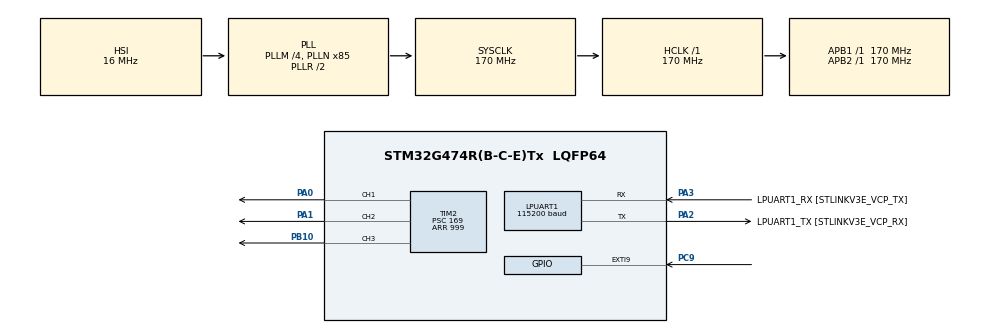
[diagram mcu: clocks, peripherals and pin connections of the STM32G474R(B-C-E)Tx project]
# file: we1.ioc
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LPUART1.BaudRate=115200
Mcu.Family=STM32G4
Mcu.Name=STM32G474R(B-C-E)Tx
Mcu.Package=LQFP64
NVIC.EXTI9_5_IRQn=true\:0\:0\:false\:false\:true\:true\:true\:true
NVIC.LPUART1_IRQn=true\:0\:0\:false\:false\:true\:true\:true\:true
NVIC.PriorityGroup=NVIC_PRIORITYGROUP_4
NVIC.TIM2_IRQn=true\:0\:0\:false\:false\:true\:true\:true\:true
PA0.Signal=S_TIM2_CH1
PA1.Signal=S_TIM2_CH2
PA13.GPIO_Label=T_SWDIO
PA13.Signal=SYS_JTMS-SWDIO
PA14.GPIO_Label=T_SWCLK
PA14.Signal=SYS_JTCK-SWCLK
PA2.GPIO_Label=LPUART1_TX [STLINKV3E_VCP_RX]
PA2.Mode=Asynchronous
PA2.Signal=LPUART1_TX
PA3.GPIO_Label=LPUART1_RX [STLINKV3E_VCP_TX]
PA3.Mode=Asynchronous
PA3.Signal=LPUART1_RX
PB10.Signal=S_TIM2_CH3
PB3.GPIO_Label=T_SWO
PB3.Signal=SYS_JTDO-SWO
PC14-OSC32_IN.GPIO_Label=RCC_OSC32_IN
PC14-OSC32_IN.Signal=RCC_OSC32_IN
PC15-OSC32_OUT.GPIO_Label=RCC_OSC32_OUT
PC15-OSC32_OUT.Signal=RCC_OSC32_OUT
PC9.GPIO_ModeDefaultEXTI=GPIO_MODE_IT_FALLING
PC9.GPIO_PuPd=GPIO_PULLUP
PC9.Signal=GPXTI9
PF0-OSC_IN.GPIO_Label=RCC_OSC_IN
PF0-OSC_IN.Signal=RCC_OSC_IN
PF1-OSC_OUT.GPIO_Label=RCC_OSC_OUT
PF1-OSC_OUT.Signal=RCC_OSC_OUT
ProjectManager.HeapSize=0x200
ProjectManager.StackSize=0x400
ProjectManager.TargetToolchain=STM32CubeIDE
RCC.ADC12Freq_Value=170000000
RCC.ADC345Freq_Value=170000000
RCC.AHBFreq_Value=170000000
RCC.APB1Freq_Value=170000000
RCC.APB1TimFreq_Value=170000000
RCC.APB2Freq_Value=170000000
RCC.APB2TimFreq_Value=170000000
RCC.CortexFreq_Value=170000000
RCC.EXTERNAL_CLOCK_VALUE=12288000
RCC.HCLKFreq_Value=170000000
RCC.HSE_VALUE=24000000
RCC.HSI48_VALUE=48000000
RCC.HSI_VALUE=16000000
RCC.LSE_VALUE=32768
RCC.PLLM=RCC_PLLM_DIV4
RCC.PLLN=85
RCC.RTCClockSelection=RCC_RTCCLKSOURCE_LSE
RCC.SYSCLKFreq_VALUE=170000000
RCC.SYSCLKSource=RCC_SYSCLKSOURCE_PLLCLK
RCC.USBFreq_Value=170000000
RCC.VCOOutputFreq_Value=340000000
SH.S_TIM2_CH1.0=TIM2_CH1,PWM Generation1 CH1
SH.S_TIM2_CH2.0=TIM2_CH2,PWM Generation2 CH2
SH.S_TIM2_CH3.0=TIM2_CH3,PWM Generation3 CH3
TIM2.Channel-PWM\ Generation1\ CH1=TIM_CHANNEL_1
TIM2.Channel-PWM\ Generation2\ CH2=TIM_CHANNEL_2
TIM2.Channel-PWM\ Generation3\ CH3=TIM_CHANNEL_3
TIM2.PeriodNoDither=999
TIM2.Prescaler=169
VP_SYS_VS_DBSignals.Mode=DisableDeadBatterySignals
board=NUCLEO-G474RE

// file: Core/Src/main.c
/* USER CODE BEGIN Header */
/**
  ******************************************************************************
  * @file           : main.c
  * @brief          : Main program body
  ******************************************************************************
  * @attention
  *
  * Copyright (c) 2026 STMicroelectronics.
  * All rights reserved.
  *
  * This software is licensed under terms that can be found in the LICENSE file
  * in the root directory of this software component.
  * If no LICENSE file comes with this software, it is provided AS-IS.
  *
  ******************************************************************************
  */
/* USER CODE END Header */
#include "main.h"
#include <stdio.h>
#include <string.h>

UART_HandleTypeDef hlpuart1;

TIM_HandleTypeDef htim2;

//* USER CODE BEGIN PV */
volatile uint8_t pause_flag = 0;       // 暫停旗標 (0: 執行, 1: 暫停)

// UART 接收相關變數
uint8_t lpuart_rx_data;                // 單字元接收緩衝
char rx_buffer[30];                    // 儲存完整指令字串
uint8_t rx_index = 0;

uint32_t countdown_time = 0;           // 設定的倒數時間（秒數）
uint8_t state = 0;                     // 0: 等待設定, 1: 就緒/暫停, 2: 執行中
/* USER CODE END PV */

void SystemClock_Config(void);
static void MX_GPIO_Init(void);
static void MX_LPUART1_UART_Init(void);
static void MX_TIM2_Init(void);

int main(void)
{

  /* MCU Configuration--------------------------------------------------------*/

  /* Reset of all peripherals, Initializes the Flash interface and the Systick. */
  HAL_Init();

  /* Configure the system clock */
  SystemClock_Config();

  /* Initialize all configured peripherals */
  MX_GPIO_Init();
  MX_LPUART1_UART_Init();
  MX_TIM2_Init();
  /* USER CODE BEGIN 2 */
  // 1. 啟動三個 PWM 通道 (TIM2 CH1: PA0, CH2: PA1, CH3: PB10)
  HAL_TIM_PWM_Start(&htim2, TIM_CHANNEL_1);
  HAL_TIM_PWM_Start(&htim2, TIM_CHANNEL_2);
  HAL_TIM_PWM_Start(&htim2, TIM_CHANNEL_3);

  // 2. 啟動 LPUART1 的中斷接收（每次收 1 個 byte）
  HAL_UART_Receive_IT(&hlpuart1, &lpuart_rx_data, 1);
  /* USER CODE END 2 */

  /* Infinite loop */
  /* USER CODE BEGIN WHILE */
  while (1)
    {
        // 狀態 0 或 1：等待接收指令或暫停狀態，燈保持全暗或不動
        if (state != 2) {
            __HAL_TIM_SET_COMPARE(&htim2, TIM_CHANNEL_1, 0);
            __HAL_TIM_SET_COMPARE(&htim2, TIM_CHANNEL_2, 0);
            __HAL_TIM_SET_COMPARE(&htim2, TIM_CHANNEL_3, 0);
            HAL_Delay(100);
            continue;
        }

        // 狀態 2：收到 START 後開始執行依序變暗邏輯（精準校正時間）

              uint32_t total_time_ms = countdown_time * 60 * 1000; // 例如 1 分鐘 = 60,000 ms

              // 總共有 600 步 (3顆燈 * 各200步)
              // 為了補償 HAL_Delay 的累積誤差，我們將總時間稍微乘以 0.9 左右來校正
              uint32_t calibrated_time_ms = (total_time_ms * 88) / 100;
              uint32_t step_delay = calibrated_time_ms / 600;
              if (step_delay < 1) step_delay = 1;

              // 1. 三顆燈瞬間全亮（取消額外的 hold_time，讓時間完全用在變暗過程）
              __HAL_TIM_SET_COMPARE(&htim2, TIM_CHANNEL_1, 999);
              __HAL_TIM_SET_COMPARE(&htim2, TIM_CHANNEL_2, 999);
              __HAL_TIM_SET_COMPARE(&htim2, TIM_CHANNEL_3, 999);

              // 2. 第一顆燈 (PA0) 漸漸變暗
              for (int32_t i = 999; i >= 0; i -= 5) {
                  while (pause_flag) { while(pause_flag); } // 支援隨時暫停
                  __HAL_TIM_SET_COMPARE(&htim2, TIM_CHANNEL_1, i);

                  for(uint32_t sd = 0; sd < step_delay; sd += 5) {
                      while (pause_flag) { while(pause_flag); }
                      HAL_Delay(5);
                  }
                  if (i == 0) break;
              }

              // 3. 第二顆燈 (PA1) 漸漸變暗
              for (int32_t i = 999; i >= 0; i -= 5) {
                  while (pause_flag) { while(pause_flag); }
                  __HAL_TIM_SET_COMPARE(&htim2, TIM_CHANNEL_2, i);

                  for(uint32_t sd = 0; sd < step_delay; sd += 5) {
                      while (pause_flag) { while(pause_flag); }
                      HAL_Delay(5);
                  }
                  if (i == 0) break;
              }

              // 4. 第三顆燈 (PB10) 漸漸變暗
              for (int32_t i = 999; i >= 0; i -= 5) {
                  while (pause_flag) { while(pause_flag); }
                  __HAL_TIM_SET_COMPARE(&htim2, TIM_CHANNEL_3, i);

                  for(uint32_t sd = 0; sd < step_delay; sd += 5) {
                      while (pause_flag) { while(pause_flag); }
                      HAL_Delay(5);
                  }
                  if (i == 0) break;
              }

              // 確保三顆燈完全熄滅
              __HAL_TIM_SET_COMPARE(&htim2, TIM_CHANNEL_1, 0);
              __HAL_TIM_SET_COMPARE(&htim2, TIM_CHANNEL_2, 0);
              __HAL_TIM_SET_COMPARE(&htim2, TIM_CHANNEL_3, 0);

              // 透過 UART 傳送時間結束訊息
              char finish_msg[] = "TIME_UP\r\n";
              HAL_UART_Transmit(&hlpuart1, (uint8_t*)finish_msg, sizeof(finish_msg) - 1, 100);

              // 回到等待狀態
              state = 0;
              countdown_time = 0;
    }
  /* USER CODE END 3 */
}

void SystemClock_Config(void)
{
  RCC_OscInitTypeDef RCC_OscInitStruct = {0};
  RCC_ClkInitTypeDef RCC_ClkInitStruct = {0};

  /** Configure the main internal regulator output voltage
  */
  HAL_PWREx_ControlVoltageScaling(PWR_REGULATOR_VOLTAGE_SCALE1_BOOST);

  /** Initializes the RCC Oscillators according to the specified parameters
  * in the RCC_OscInitTypeDef structure.
  */
  RCC_OscInitStruct.OscillatorType = RCC_OSCILLATORTYPE_HSI;
  RCC_OscInitStruct.HSIState = RCC_HSI_ON;
  RCC_OscInitStruct.HSICalibrationValue = RCC_HSICALIBRATION_DEFAULT;
  RCC_OscInitStruct.PLL.PLLState = RCC_PLL_ON;
  RCC_OscInitStruct.PLL.PLLSource = RCC_PLLSOURCE_HSI;
  RCC_OscInitStruct.PLL.PLLM = RCC_PLLM_DIV4;
  RCC_OscInitStruct.PLL.PLLN = 85;
  RCC_OscInitStruct.PLL.PLLP = RCC_PLLP_DIV2;
  RCC_OscInitStruct.PLL.PLLQ = RCC_PLLQ_DIV2;
  RCC_OscInitStruct.PLL.PLLR = RCC_PLLR_DIV2;
  if (HAL_RCC_OscConfig(&RCC_OscInitStruct) != HAL_OK)
  {
    Error_Handler();
  }

  /** Initializes the CPU, AHB and APB buses clocks
  */
  RCC_ClkInitStruct.ClockType = RCC_CLOCKTYPE_HCLK|RCC_CLOCKTYPE_SYSCLK
                              |RCC_CLOCKTYPE_PCLK1|RCC_CLOCKTYPE_PCLK2;
  RCC_ClkInitStruct.SYSCLKSource = RCC_SYSCLKSOURCE_PLLCLK;
  RCC_ClkInitStruct.AHBCLKDivider = RCC_SYSCLK_DIV1;
  RCC_ClkInitStruct.APB1CLKDivider = RCC_HCLK_DIV1;
  RCC_ClkInitStruct.APB2CLKDivider = RCC_HCLK_DIV1;

  if (HAL_RCC_ClockConfig(&RCC_ClkInitStruct, FLASH_LATENCY_4) != HAL_OK)
  {
    Error_Handler();
  }
}

static void MX_LPUART1_UART_Init(void)
{

  hlpuart1.Instance = LPUART1;
  hlpuart1.Init.BaudRate = 115200;
  hlpuart1.Init.WordLength = UART_WORDLENGTH_8B;
  hlpuart1.Init.StopBits = UART_STOPBITS_1;
  hlpuart1.Init.Parity = UART_PARITY_NONE;
  hlpuart1.Init.Mode = UART_MODE_TX_RX;
  hlpuart1.Init.HwFlowCtl = UART_HWCONTROL_NONE;
  hlpuart1.Init.OneBitSampling = UART_ONE_BIT_SAMPLE_DISABLE;
  hlpuart1.Init.ClockPrescaler = UART_PRESCALER_DIV1;
  hlpuart1.AdvancedInit.AdvFeatureInit = UART_ADVFEATURE_NO_INIT;
  if (HAL_UART_Init(&hlpuart1) != HAL_OK)
  {
    Error_Handler();
  }
  if (HAL_UARTEx_SetTxFifoThreshold(&hlpuart1, UART_TXFIFO_THRESHOLD_1_8) != HAL_OK)
  {
    Error_Handler();
  }
  if (HAL_UARTEx_SetRxFifoThreshold(&hlpuart1, UART_RXFIFO_THRESHOLD_1_8) != HAL_OK)
  {
    Error_Handler();
  }
  if (HAL_UARTEx_DisableFifoMode(&hlpuart1) != HAL_OK)
  {
    Error_Handler();
  }

}

static void MX_TIM2_Init(void)
{

  TIM_MasterConfigTypeDef sMasterConfig = {0};
  TIM_OC_InitTypeDef sConfigOC = {0};

  htim2.Instance = TIM2;
  htim2.Init.Prescaler = 169;
  htim2.Init.CounterMode = TIM_COUNTERMODE_UP;
  htim2.Init.Period = 999;
  htim2.Init.ClockDivision = TIM_CLOCKDIVISION_DIV1;
  htim2.Init.AutoReloadPreload = TIM_AUTORELOAD_PRELOAD_DISABLE;
  if (HAL_TIM_PWM_Init(&htim2) != HAL_OK)
  {
    Error_Handler();
  }
  sMasterConfig.MasterOutputTrigger = TIM_TRGO_RESET;
  sMasterConfig.MasterSlaveMode = TIM_MASTERSLAVEMODE_DISABLE;
  if (HAL_TIMEx_MasterConfigSynchronization(&htim2, &sMasterConfig) != HAL_OK)
  {
    Error_Handler();
  }
  sConfigOC.OCMode = TIM_OCMODE_PWM1;
  sConfigOC.Pulse = 0;
  sConfigOC.OCPolarity = TIM_OCPOLARITY_HIGH;
  sConfigOC.OCFastMode = TIM_OCFAST_DISABLE;
  if (HAL_TIM_PWM_ConfigChannel(&htim2, &sConfigOC, TIM_CHANNEL_1) != HAL_OK)
  {
    Error_Handler();
  }
  if (HAL_TIM_PWM_ConfigChannel(&htim2, &sConfigOC, TIM_CHANNEL_2) != HAL_OK)
  {
    Error_Handler();
  }
  if (HAL_TIM_PWM_ConfigChannel(&htim2, &sConfigOC, TIM_CHANNEL_3) != HAL_OK)
  {
    Error_Handler();
  }
  HAL_TIM_MspPostInit(&htim2);

}

static void MX_GPIO_Init(void)
{
  GPIO_InitTypeDef GPIO_InitStruct = {0};

  /* GPIO Ports Clock Enable */
  __HAL_RCC_GPIOC_CLK_ENABLE();
  __HAL_RCC_GPIOF_CLK_ENABLE();
  __HAL_RCC_GPIOA_CLK_ENABLE();
  __HAL_RCC_GPIOB_CLK_ENABLE();

  /*Configure GPIO pin : PC9 */
  GPIO_InitStruct.Pin = GPIO_PIN_9;
  GPIO_InitStruct.Mode = GPIO_MODE_IT_FALLING;
  GPIO_InitStruct.Pull = GPIO_PULLUP;
  HAL_GPIO_Init(GPIOC, &GPIO_InitStruct);

  /* EXTI interrupt init*/
  HAL_NVIC_SetPriority(EXTI9_5_IRQn, 0, 0);
  HAL_NVIC_EnableIRQ(EXTI9_5_IRQn);

}

/* USER CODE BEGIN 4 */
// 1. 外部按鈕中斷 (PC9) - 附帶 200ms 軟體消抖
uint32_t last_click_tick = 0;

void HAL_GPIO_EXTI_Callback(uint16_t GPIO_Pin)
{
    if (GPIO_Pin == GPIO_PIN_9) {
        uint32_t current_tick = HAL_GetTick();
        if (current_tick - last_click_tick > 200) {
            pause_flag = !pause_flag; // 切換暫停 / 繼續
            last_click_tick = current_tick;
        }
    }
}

// 2. LPUART1 接收完成中斷 - 解析 "SET 數字" 與 "START"
// 2. LPUART1 接收完成中斷 - 穩定的字元收集與解析
void HAL_UART_RxCpltCallback(UART_HandleTypeDef *huart)
{
    if (huart->Instance == LPUART1) {
        // 如果收到換行或結尾，或是緩衝區滿了
        if (lpuart_rx_data == '\n' || lpuart_rx_data == '\r') {
            if (rx_index > 0) { // 確保不是空的換行
                rx_buffer[rx_index] = '\0'; // 加上字串結尾

                // 測試回傳：把收到的完整指令印回電腦畫面
                char debug_msg[50];
                int len = sprintf(debug_msg, "收到指令: [%s]\r\n", rx_buffer);
                HAL_UART_Transmit(&hlpuart1, (uint8_t*)debug_msg, len, 100);

                uint32_t temp_val = 0;
                if (sscanf(rx_buffer, "SET %lu", &temp_val) == 1) {
                    countdown_time = temp_val;
                    state = 1; // 進入就緒狀態
                }
                else if (strcmp(rx_buffer, "START") == 0) {
                    if (countdown_time > 0) {
                        state = 2; // 開始執行依序變暗
                    }
                }
                rx_index = 0; // 重置索引準備收下一句
            }
        }
        else {
            // 正常收集字元（過濾掉空白或控制字元以外的字）
            if (lpuart_rx_data >= 32 && lpuart_rx_data <= 126) {
                if (rx_index < sizeof(rx_buffer) - 1) {
                    rx_buffer[rx_index++] = lpuart_rx_data;
                }
            }
        }

        // 【極重要】不管怎樣，一定要重新啟動中斷接收下一個字元！
        HAL_UART_Receive_IT(&hlpuart1, &lpuart_rx_data, 1);
    }
}
/* USER CODE END 4 */

void Error_Handler(void)
{
  __disable_irq();
  while (1)
  {
  }
}
